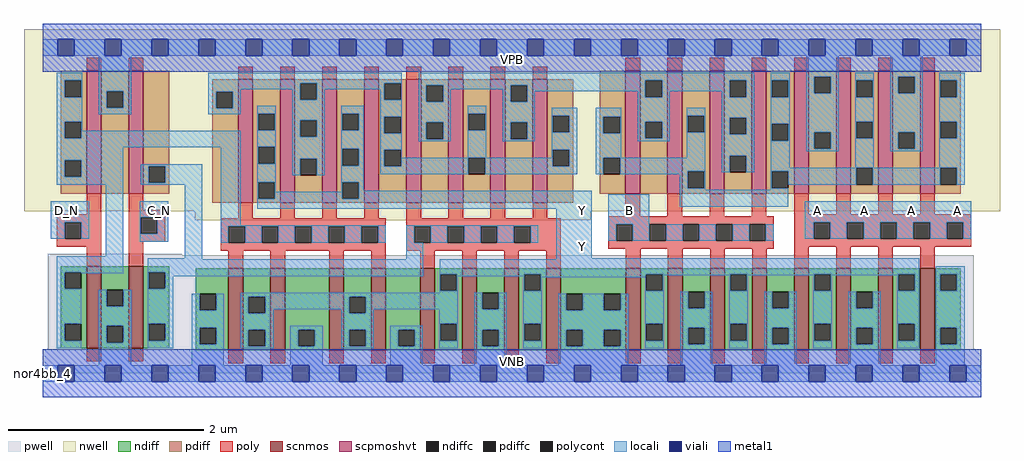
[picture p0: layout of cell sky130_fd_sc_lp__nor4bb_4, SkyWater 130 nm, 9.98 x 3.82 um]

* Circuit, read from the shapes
.subckt sky130_fd_sc_lp__nor4bb_4 A B C_N D_N VGND VNB VPB VPWR Y
XM1 VGND D_N n1 VNB sky130_fd_pr__nfet_01v8 w=0.84 l=0.15
XM2 n2 C_N VGND VNB sky130_fd_pr__nfet_01v8 w=0.84 l=0.15
XM3 Y n1 VGND VNB sky130_fd_pr__nfet_01v8 w=0.84 l=0.15 m=4
XM4 Y n2 VGND VNB sky130_fd_pr__nfet_01v8 w=0.84 l=0.15 m=4
XM5 Y B VGND VNB sky130_fd_pr__nfet_01v8 w=0.84 l=0.15 m=4
XM6 Y A VGND VNB sky130_fd_pr__nfet_01v8 w=0.84 l=0.15 m=4
XM7 VPWR D_N n1 VPB sky130_fd_pr__pfet_01v8_hvt w=1.26 l=0.15
XM8 n2 C_N VPWR VPB sky130_fd_pr__pfet_01v8_hvt w=1.26 l=0.15
XM9 Y n1 n3 VPB sky130_fd_pr__pfet_01v8_hvt w=1.26 l=0.15 m=4
XM10 n4 n2 n3 VPB sky130_fd_pr__pfet_01v8_hvt w=1.26 l=0.15 m=4
XM11 n4 B n5 VPB sky130_fd_pr__pfet_01v8_hvt w=1.26 l=0.15 m=4
XM12 VPWR A n5 VPB sky130_fd_pr__pfet_01v8_hvt w=1.26 l=0.15 m=4
.ends

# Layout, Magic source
magic
tech sky130A
magscale 1 2
<< nwell >>
rect -38 331 1958 704
rect 311 313 1121 331
<< pwell >>
rect 11 241 285 245
rect 11 49 1904 241
rect 0 0 1920 49
<< scnmos >>
rect 90 51 120 219
rect 176 51 206 219
rect 380 47 410 215
rect 466 47 496 215
rect 586 47 616 215
rect 672 47 702 215
rect 772 47 802 215
rect 858 47 888 215
rect 944 47 974 215
rect 1030 47 1060 215
rect 1193 47 1223 215
rect 1279 47 1309 215
rect 1365 47 1395 215
rect 1451 47 1481 215
rect 1537 47 1567 215
rect 1623 47 1653 215
rect 1709 47 1739 215
rect 1795 47 1825 215
<< scpmoshvt >>
rect 90 367 120 619
rect 176 367 206 619
rect 400 349 430 601
rect 486 349 516 601
rect 572 349 602 601
rect 658 349 688 601
rect 744 349 774 601
rect 830 349 860 601
rect 916 349 946 601
rect 1002 349 1032 601
rect 1192 367 1222 619
rect 1278 367 1308 619
rect 1364 367 1394 619
rect 1450 367 1480 619
rect 1537 367 1567 619
rect 1623 367 1653 619
rect 1709 367 1739 619
rect 1795 367 1825 619
<< ndiff >>
rect 37 207 90 219
rect 37 173 45 207
rect 79 173 90 207
rect 37 101 90 173
rect 37 67 45 101
rect 79 67 90 101
rect 37 51 90 67
rect 120 171 176 219
rect 120 137 131 171
rect 165 137 176 171
rect 120 97 176 137
rect 120 63 131 97
rect 165 63 176 97
rect 120 51 176 63
rect 206 207 259 219
rect 206 173 217 207
rect 251 173 259 207
rect 206 101 259 173
rect 206 67 217 101
rect 251 67 259 101
rect 206 51 259 67
rect 313 163 380 215
rect 313 129 321 163
rect 355 129 380 163
rect 313 93 380 129
rect 313 59 321 93
rect 355 59 380 93
rect 313 47 380 59
rect 410 157 466 215
rect 410 123 421 157
rect 455 123 466 157
rect 410 89 466 123
rect 410 55 421 89
rect 455 55 466 89
rect 410 47 466 55
rect 496 89 586 215
rect 496 55 523 89
rect 557 55 586 89
rect 496 47 586 55
rect 616 157 672 215
rect 616 123 627 157
rect 661 123 672 157
rect 616 89 672 123
rect 616 55 627 89
rect 661 55 672 89
rect 616 47 672 55
rect 702 89 772 215
rect 702 55 727 89
rect 761 55 772 89
rect 702 47 772 55
rect 802 203 858 215
rect 802 169 813 203
rect 847 169 858 203
rect 802 101 858 169
rect 802 67 813 101
rect 847 67 858 101
rect 802 47 858 67
rect 888 165 944 215
rect 888 131 899 165
rect 933 131 944 165
rect 888 89 944 131
rect 888 55 899 89
rect 933 55 944 89
rect 888 47 944 55
rect 974 203 1030 215
rect 974 169 985 203
rect 1019 169 1030 203
rect 974 101 1030 169
rect 974 67 985 101
rect 1019 67 1030 101
rect 974 47 1030 67
rect 1060 163 1193 215
rect 1060 129 1071 163
rect 1105 129 1148 163
rect 1182 129 1193 163
rect 1060 89 1193 129
rect 1060 55 1071 89
rect 1105 55 1148 89
rect 1182 55 1193 89
rect 1060 47 1193 55
rect 1223 203 1279 215
rect 1223 169 1234 203
rect 1268 169 1279 203
rect 1223 101 1279 169
rect 1223 67 1234 101
rect 1268 67 1279 101
rect 1223 47 1279 67
rect 1309 167 1365 215
rect 1309 133 1320 167
rect 1354 133 1365 167
rect 1309 93 1365 133
rect 1309 59 1320 93
rect 1354 59 1365 93
rect 1309 47 1365 59
rect 1395 203 1451 215
rect 1395 169 1406 203
rect 1440 169 1451 203
rect 1395 101 1451 169
rect 1395 67 1406 101
rect 1440 67 1451 101
rect 1395 47 1451 67
rect 1481 167 1537 215
rect 1481 133 1492 167
rect 1526 133 1537 167
rect 1481 93 1537 133
rect 1481 59 1492 93
rect 1526 59 1537 93
rect 1481 47 1537 59
rect 1567 203 1623 215
rect 1567 169 1578 203
rect 1612 169 1623 203
rect 1567 101 1623 169
rect 1567 67 1578 101
rect 1612 67 1623 101
rect 1567 47 1623 67
rect 1653 167 1709 215
rect 1653 133 1664 167
rect 1698 133 1709 167
rect 1653 93 1709 133
rect 1653 59 1664 93
rect 1698 59 1709 93
rect 1653 47 1709 59
rect 1739 203 1795 215
rect 1739 169 1750 203
rect 1784 169 1795 203
rect 1739 101 1795 169
rect 1739 67 1750 101
rect 1784 67 1795 101
rect 1739 47 1795 67
rect 1825 203 1878 215
rect 1825 169 1836 203
rect 1870 169 1878 203
rect 1825 93 1878 169
rect 1825 59 1836 93
rect 1870 59 1878 93
rect 1825 47 1878 59
<< pdiff >>
rect 37 599 90 619
rect 37 565 45 599
rect 79 565 90 599
rect 37 515 90 565
rect 37 481 45 515
rect 79 481 90 515
rect 37 436 90 481
rect 37 402 45 436
rect 79 402 90 436
rect 37 367 90 402
rect 120 577 176 619
rect 120 543 131 577
rect 165 543 176 577
rect 120 367 176 543
rect 206 424 259 619
rect 206 390 217 424
rect 251 390 259 424
rect 206 367 259 390
rect 347 576 400 601
rect 347 542 355 576
rect 389 542 400 576
rect 347 349 400 542
rect 430 531 486 601
rect 430 497 441 531
rect 475 497 486 531
rect 430 463 486 497
rect 430 429 441 463
rect 475 429 486 463
rect 430 391 486 429
rect 430 357 441 391
rect 475 357 486 391
rect 430 349 486 357
rect 516 593 572 601
rect 516 559 527 593
rect 561 559 572 593
rect 516 518 572 559
rect 516 484 527 518
rect 561 484 572 518
rect 516 439 572 484
rect 516 405 527 439
rect 561 405 572 439
rect 516 349 572 405
rect 602 531 658 601
rect 602 497 613 531
rect 647 497 658 531
rect 602 459 658 497
rect 602 425 613 459
rect 647 425 658 459
rect 602 391 658 425
rect 602 357 613 391
rect 647 357 658 391
rect 602 349 658 357
rect 688 593 744 601
rect 688 559 699 593
rect 733 559 744 593
rect 688 525 744 559
rect 688 491 699 525
rect 733 491 744 525
rect 688 457 744 491
rect 688 423 699 457
rect 733 423 744 457
rect 688 349 744 423
rect 774 589 830 601
rect 774 555 785 589
rect 819 555 830 589
rect 774 513 830 555
rect 774 479 785 513
rect 819 479 830 513
rect 774 349 830 479
rect 860 531 916 601
rect 860 497 871 531
rect 905 497 916 531
rect 860 441 916 497
rect 860 407 871 441
rect 905 407 916 441
rect 860 349 916 407
rect 946 589 1002 601
rect 946 555 957 589
rect 991 555 1002 589
rect 946 513 1002 555
rect 946 479 957 513
rect 991 479 1002 513
rect 946 349 1002 479
rect 1032 527 1085 601
rect 1032 493 1043 527
rect 1077 493 1085 527
rect 1032 457 1085 493
rect 1032 423 1043 457
rect 1077 423 1085 457
rect 1032 349 1085 423
rect 1139 525 1192 619
rect 1139 491 1147 525
rect 1181 491 1192 525
rect 1139 441 1192 491
rect 1139 407 1147 441
rect 1181 407 1192 441
rect 1139 367 1192 407
rect 1222 599 1278 619
rect 1222 565 1233 599
rect 1267 565 1278 599
rect 1222 515 1278 565
rect 1222 481 1233 515
rect 1267 481 1278 515
rect 1222 367 1278 481
rect 1308 527 1364 619
rect 1308 493 1319 527
rect 1353 493 1364 527
rect 1308 413 1364 493
rect 1308 379 1319 413
rect 1353 379 1364 413
rect 1308 367 1364 379
rect 1394 599 1450 619
rect 1394 565 1405 599
rect 1439 565 1450 599
rect 1394 523 1450 565
rect 1394 489 1405 523
rect 1439 489 1450 523
rect 1394 445 1450 489
rect 1394 411 1405 445
rect 1439 411 1450 445
rect 1394 367 1450 411
rect 1480 599 1537 619
rect 1480 565 1491 599
rect 1525 565 1537 599
rect 1480 510 1537 565
rect 1480 476 1491 510
rect 1525 476 1537 510
rect 1480 413 1537 476
rect 1480 379 1491 413
rect 1525 379 1537 413
rect 1480 367 1537 379
rect 1567 607 1623 619
rect 1567 573 1578 607
rect 1612 573 1623 607
rect 1567 493 1623 573
rect 1567 459 1578 493
rect 1612 459 1623 493
rect 1567 367 1623 459
rect 1653 599 1709 619
rect 1653 565 1664 599
rect 1698 565 1709 599
rect 1653 515 1709 565
rect 1653 481 1664 515
rect 1698 481 1709 515
rect 1653 420 1709 481
rect 1653 386 1664 420
rect 1698 386 1709 420
rect 1653 367 1709 386
rect 1739 607 1795 619
rect 1739 573 1750 607
rect 1784 573 1795 607
rect 1739 493 1795 573
rect 1739 459 1750 493
rect 1784 459 1795 493
rect 1739 367 1795 459
rect 1825 599 1878 619
rect 1825 565 1836 599
rect 1870 565 1878 599
rect 1825 515 1878 565
rect 1825 481 1836 515
rect 1870 481 1878 515
rect 1825 420 1878 481
rect 1825 386 1836 420
rect 1870 386 1878 420
rect 1825 367 1878 386
<< ndiffc >>
rect 45 173 79 207
rect 45 67 79 101
rect 131 137 165 171
rect 131 63 165 97
rect 217 173 251 207
rect 217 67 251 101
rect 321 129 355 163
rect 321 59 355 93
rect 421 123 455 157
rect 421 55 455 89
rect 523 55 557 89
rect 627 123 661 157
rect 627 55 661 89
rect 727 55 761 89
rect 813 169 847 203
rect 813 67 847 101
rect 899 131 933 165
rect 899 55 933 89
rect 985 169 1019 203
rect 985 67 1019 101
rect 1071 129 1105 163
rect 1148 129 1182 163
rect 1071 55 1105 89
rect 1148 55 1182 89
rect 1234 169 1268 203
rect 1234 67 1268 101
rect 1320 133 1354 167
rect 1320 59 1354 93
rect 1406 169 1440 203
rect 1406 67 1440 101
rect 1492 133 1526 167
rect 1492 59 1526 93
rect 1578 169 1612 203
rect 1578 67 1612 101
rect 1664 133 1698 167
rect 1664 59 1698 93
rect 1750 169 1784 203
rect 1750 67 1784 101
rect 1836 169 1870 203
rect 1836 59 1870 93
<< pdiffc >>
rect 45 565 79 599
rect 45 481 79 515
rect 45 402 79 436
rect 131 543 165 577
rect 217 390 251 424
rect 355 542 389 576
rect 441 497 475 531
rect 441 429 475 463
rect 441 357 475 391
rect 527 559 561 593
rect 527 484 561 518
rect 527 405 561 439
rect 613 497 647 531
rect 613 425 647 459
rect 613 357 647 391
rect 699 559 733 593
rect 699 491 733 525
rect 699 423 733 457
rect 785 555 819 589
rect 785 479 819 513
rect 871 497 905 531
rect 871 407 905 441
rect 957 555 991 589
rect 957 479 991 513
rect 1043 493 1077 527
rect 1043 423 1077 457
rect 1147 491 1181 525
rect 1147 407 1181 441
rect 1233 565 1267 599
rect 1233 481 1267 515
rect 1319 493 1353 527
rect 1319 379 1353 413
rect 1405 565 1439 599
rect 1405 489 1439 523
rect 1405 411 1439 445
rect 1491 565 1525 599
rect 1491 476 1525 510
rect 1491 379 1525 413
rect 1578 573 1612 607
rect 1578 459 1612 493
rect 1664 565 1698 599
rect 1664 481 1698 515
rect 1664 386 1698 420
rect 1750 573 1784 607
rect 1750 459 1784 493
rect 1836 565 1870 599
rect 1836 481 1870 515
rect 1836 386 1870 420
<< poly >>
rect 90 619 120 645
rect 176 619 206 645
rect 400 601 430 627
rect 486 601 516 627
rect 572 601 602 627
rect 658 601 688 627
rect 744 601 774 627
rect 830 601 860 627
rect 916 601 946 627
rect 1002 601 1032 627
rect 1192 619 1222 645
rect 1278 619 1308 645
rect 1364 619 1394 645
rect 1450 619 1480 645
rect 1537 619 1567 645
rect 1623 619 1653 645
rect 1709 619 1739 645
rect 1795 619 1825 645
rect 90 325 120 367
rect 29 309 120 325
rect 29 275 45 309
rect 79 275 120 309
rect 29 259 120 275
rect 90 219 120 259
rect 176 335 206 367
rect 176 319 251 335
rect 176 285 201 319
rect 235 285 251 319
rect 400 317 430 349
rect 486 317 516 349
rect 572 317 602 349
rect 658 317 688 349
rect 744 317 774 349
rect 830 317 860 349
rect 916 317 946 349
rect 1002 317 1032 349
rect 1192 321 1222 367
rect 1278 321 1308 367
rect 1364 321 1394 367
rect 1450 321 1480 367
rect 1537 325 1567 367
rect 1623 325 1653 367
rect 1709 325 1739 367
rect 1795 325 1825 367
rect 176 269 251 285
rect 364 301 702 317
rect 176 219 206 269
rect 364 267 380 301
rect 414 267 448 301
rect 482 267 516 301
rect 550 267 584 301
rect 618 267 652 301
rect 686 267 702 301
rect 364 251 702 267
rect 744 301 1060 317
rect 744 267 760 301
rect 794 267 828 301
rect 862 267 896 301
rect 930 267 964 301
rect 998 267 1060 301
rect 744 251 1060 267
rect 1157 305 1495 321
rect 1157 271 1173 305
rect 1207 271 1241 305
rect 1275 271 1309 305
rect 1343 271 1377 305
rect 1411 271 1445 305
rect 1479 271 1495 305
rect 1157 255 1495 271
rect 1537 309 1899 325
rect 1537 275 1577 309
rect 1611 275 1645 309
rect 1679 275 1713 309
rect 1747 275 1781 309
rect 1815 275 1849 309
rect 1883 275 1899 309
rect 1537 259 1899 275
rect 380 215 410 251
rect 466 215 496 251
rect 586 215 616 251
rect 672 215 702 251
rect 772 215 802 251
rect 858 215 888 251
rect 944 215 974 251
rect 1030 215 1060 251
rect 1193 215 1223 255
rect 1279 215 1309 255
rect 1365 215 1395 255
rect 1451 215 1481 255
rect 1537 215 1567 259
rect 1623 215 1653 259
rect 1709 215 1739 259
rect 1795 215 1825 259
rect 90 25 120 51
rect 176 25 206 51
rect 380 21 410 47
rect 466 21 496 47
rect 586 21 616 47
rect 672 21 702 47
rect 772 21 802 47
rect 858 21 888 47
rect 944 21 974 47
rect 1030 21 1060 47
rect 1193 21 1223 47
rect 1279 21 1309 47
rect 1365 21 1395 47
rect 1451 21 1481 47
rect 1537 21 1567 47
rect 1623 21 1653 47
rect 1709 21 1739 47
rect 1795 21 1825 47
<< polycont >>
rect 45 275 79 309
rect 201 285 235 319
rect 380 267 414 301
rect 448 267 482 301
rect 516 267 550 301
rect 584 267 618 301
rect 652 267 686 301
rect 760 267 794 301
rect 828 267 862 301
rect 896 267 930 301
rect 964 267 998 301
rect 1173 271 1207 305
rect 1241 271 1275 305
rect 1309 271 1343 305
rect 1377 271 1411 305
rect 1445 271 1479 305
rect 1577 275 1611 309
rect 1645 275 1679 309
rect 1713 275 1747 309
rect 1781 275 1815 309
rect 1849 275 1883 309
<< locali >>
rect 0 649 31 683
rect 65 649 127 683
rect 161 649 223 683
rect 257 649 319 683
rect 353 649 415 683
rect 449 649 511 683
rect 545 649 607 683
rect 641 649 703 683
rect 737 649 799 683
rect 833 649 895 683
rect 929 649 991 683
rect 1025 649 1087 683
rect 1121 649 1183 683
rect 1217 649 1279 683
rect 1313 649 1375 683
rect 1409 649 1471 683
rect 1505 649 1567 683
rect 1601 649 1663 683
rect 1697 649 1759 683
rect 1793 649 1855 683
rect 1889 649 1920 683
rect 29 599 81 615
rect 29 565 45 599
rect 79 565 81 599
rect 29 515 81 565
rect 115 577 181 649
rect 115 543 131 577
rect 165 543 181 577
rect 115 530 181 543
rect 339 593 735 615
rect 339 581 527 593
rect 339 576 405 581
rect 339 542 355 576
rect 389 542 405 576
rect 511 559 527 581
rect 561 581 699 593
rect 561 559 577 581
rect 339 530 405 542
rect 439 531 477 547
rect 29 481 45 515
rect 79 496 81 515
rect 439 497 441 531
rect 475 497 477 531
rect 79 481 405 496
rect 29 462 405 481
rect 29 436 165 462
rect 29 402 45 436
rect 79 402 165 436
rect 29 386 165 402
rect 201 424 327 428
rect 201 390 217 424
rect 251 390 327 424
rect 201 386 327 390
rect 17 309 95 352
rect 17 275 45 309
rect 79 275 95 309
rect 129 239 165 386
rect 199 319 257 352
rect 199 285 201 319
rect 235 285 257 319
rect 199 269 257 285
rect 29 207 165 239
rect 291 235 327 386
rect 364 303 405 462
rect 439 463 477 497
rect 439 429 441 463
rect 475 429 477 463
rect 439 391 477 429
rect 511 518 577 559
rect 691 559 699 581
rect 733 559 735 593
rect 511 484 527 518
rect 561 484 577 518
rect 511 439 577 484
rect 511 405 527 439
rect 561 405 577 439
rect 611 531 657 547
rect 611 497 613 531
rect 647 497 657 531
rect 611 459 657 497
rect 611 425 613 459
rect 647 425 657 459
rect 439 357 441 391
rect 475 371 477 391
rect 611 391 657 425
rect 691 525 735 559
rect 691 491 699 525
rect 733 491 735 525
rect 691 457 735 491
rect 769 599 1455 615
rect 769 589 1233 599
rect 769 555 785 589
rect 819 581 957 589
rect 819 555 835 581
rect 769 513 835 555
rect 941 555 957 581
rect 991 577 1233 589
rect 991 555 1007 577
rect 769 479 785 513
rect 819 479 835 513
rect 769 475 835 479
rect 869 531 907 547
rect 869 497 871 531
rect 905 497 907 531
rect 691 423 699 457
rect 733 441 735 457
rect 869 441 907 497
rect 941 513 1007 555
rect 1217 565 1233 577
rect 1267 577 1405 599
rect 1267 565 1283 577
rect 941 479 957 513
rect 991 479 1007 513
rect 941 475 1007 479
rect 1041 527 1093 543
rect 1041 493 1043 527
rect 1077 493 1093 527
rect 1041 457 1093 493
rect 1041 441 1043 457
rect 733 423 871 441
rect 691 407 871 423
rect 905 423 1043 441
rect 1077 423 1093 457
rect 905 407 1093 423
rect 1131 525 1183 543
rect 1131 491 1147 525
rect 1181 491 1183 525
rect 1131 441 1183 491
rect 1217 515 1283 565
rect 1389 565 1405 577
rect 1439 565 1455 599
rect 1217 481 1233 515
rect 1267 481 1283 515
rect 1217 475 1283 481
rect 1317 527 1355 543
rect 1317 493 1319 527
rect 1353 493 1355 527
rect 1317 441 1355 493
rect 1131 407 1147 441
rect 1181 413 1355 441
rect 1181 407 1319 413
rect 611 371 613 391
rect 475 357 613 371
rect 647 373 657 391
rect 1303 379 1319 407
rect 1353 379 1355 413
rect 1389 523 1455 565
rect 1389 489 1405 523
rect 1439 489 1455 523
rect 1389 445 1455 489
rect 1389 411 1405 445
rect 1439 411 1455 445
rect 1489 599 1528 615
rect 1489 565 1491 599
rect 1525 565 1528 599
rect 1489 510 1528 565
rect 1489 476 1491 510
rect 1525 476 1528 510
rect 1489 420 1528 476
rect 1562 607 1628 649
rect 1562 573 1578 607
rect 1612 573 1628 607
rect 1562 493 1628 573
rect 1562 459 1578 493
rect 1612 459 1628 493
rect 1562 454 1628 459
rect 1662 599 1700 615
rect 1662 565 1664 599
rect 1698 565 1700 599
rect 1662 515 1700 565
rect 1662 481 1664 515
rect 1698 481 1700 515
rect 1662 420 1700 481
rect 1734 607 1800 649
rect 1734 573 1750 607
rect 1784 573 1800 607
rect 1734 493 1800 573
rect 1734 459 1750 493
rect 1784 459 1800 493
rect 1734 454 1800 459
rect 1834 599 1886 615
rect 1834 565 1836 599
rect 1870 565 1886 599
rect 1834 515 1886 565
rect 1834 481 1836 515
rect 1870 481 1886 515
rect 1834 420 1886 481
rect 1489 413 1664 420
rect 1303 375 1355 379
rect 1489 379 1491 413
rect 1525 386 1664 413
rect 1698 386 1836 420
rect 1870 386 1886 420
rect 1489 375 1525 379
rect 647 357 1123 373
rect 439 337 1123 357
rect 364 301 702 303
rect 364 267 380 301
rect 414 267 448 301
rect 482 267 516 301
rect 550 267 584 301
rect 618 267 652 301
rect 686 267 702 301
rect 744 301 1014 303
rect 744 267 760 301
rect 794 267 828 301
rect 862 267 896 301
rect 930 267 964 301
rect 998 267 1014 301
rect 29 173 45 207
rect 79 205 165 207
rect 215 233 327 235
rect 744 233 778 267
rect 1050 235 1123 337
rect 1157 305 1241 366
rect 1303 341 1525 375
rect 1559 309 1899 352
rect 1157 271 1173 305
rect 1207 271 1241 305
rect 1275 271 1309 305
rect 1343 271 1377 305
rect 1411 271 1445 305
rect 1479 271 1495 305
rect 1559 275 1577 309
rect 1611 275 1645 309
rect 1679 275 1713 309
rect 1747 275 1781 309
rect 1815 275 1849 309
rect 1883 275 1899 309
rect 1050 233 1793 235
rect 215 207 778 233
rect 29 101 79 173
rect 215 173 217 207
rect 251 199 778 207
rect 812 203 1793 233
rect 251 173 267 199
rect 29 67 45 101
rect 29 51 79 67
rect 115 137 131 171
rect 165 137 181 171
rect 115 97 181 137
rect 115 63 131 97
rect 165 63 181 97
rect 115 17 181 63
rect 215 101 267 173
rect 812 169 813 203
rect 847 199 985 203
rect 847 169 849 199
rect 812 165 849 169
rect 983 169 985 199
rect 1019 197 1234 203
rect 1019 169 1021 197
rect 215 67 217 101
rect 251 67 267 101
rect 215 51 267 67
rect 305 129 321 163
rect 355 129 371 163
rect 305 93 371 129
rect 305 59 321 93
rect 355 59 371 93
rect 305 17 371 59
rect 405 157 849 165
rect 405 123 421 157
rect 455 131 627 157
rect 455 123 473 131
rect 405 89 473 123
rect 611 123 627 131
rect 661 131 849 157
rect 661 123 677 131
rect 405 55 421 89
rect 455 55 473 89
rect 405 51 473 55
rect 507 89 573 97
rect 507 55 523 89
rect 557 55 573 89
rect 507 17 573 55
rect 611 89 677 123
rect 811 101 849 131
rect 611 55 627 89
rect 661 55 677 89
rect 611 51 677 55
rect 711 89 777 97
rect 711 55 727 89
rect 761 55 777 89
rect 711 17 777 55
rect 811 67 813 101
rect 847 67 849 101
rect 811 51 849 67
rect 883 131 899 165
rect 933 131 949 165
rect 883 89 949 131
rect 883 55 899 89
rect 933 55 949 89
rect 883 17 949 55
rect 983 101 1021 169
rect 1232 169 1234 197
rect 1268 201 1406 203
rect 1268 169 1270 201
rect 983 67 985 101
rect 1019 67 1021 101
rect 983 51 1021 67
rect 1055 129 1071 163
rect 1105 129 1148 163
rect 1182 129 1198 163
rect 1055 89 1198 129
rect 1055 55 1071 89
rect 1105 55 1148 89
rect 1182 55 1198 89
rect 1055 17 1198 55
rect 1232 101 1270 169
rect 1404 169 1406 201
rect 1440 201 1578 203
rect 1440 169 1442 201
rect 1232 67 1234 101
rect 1268 67 1270 101
rect 1232 51 1270 67
rect 1304 133 1320 167
rect 1354 133 1370 167
rect 1304 93 1370 133
rect 1304 59 1320 93
rect 1354 59 1370 93
rect 1304 17 1370 59
rect 1404 101 1442 169
rect 1576 169 1578 201
rect 1612 201 1750 203
rect 1612 169 1614 201
rect 1404 67 1406 101
rect 1440 67 1442 101
rect 1404 51 1442 67
rect 1476 133 1492 167
rect 1526 133 1542 167
rect 1476 93 1542 133
rect 1476 59 1492 93
rect 1526 59 1542 93
rect 1476 17 1542 59
rect 1576 101 1614 169
rect 1748 169 1750 201
rect 1784 169 1793 203
rect 1576 67 1578 101
rect 1612 67 1614 101
rect 1576 51 1614 67
rect 1648 133 1664 167
rect 1698 133 1714 167
rect 1648 93 1714 133
rect 1648 59 1664 93
rect 1698 59 1714 93
rect 1648 17 1714 59
rect 1748 101 1793 169
rect 1748 67 1750 101
rect 1784 67 1793 101
rect 1748 51 1793 67
rect 1827 203 1886 219
rect 1827 169 1836 203
rect 1870 169 1886 203
rect 1827 93 1886 169
rect 1827 59 1836 93
rect 1870 59 1886 93
rect 1827 17 1886 59
rect 0 -17 31 17
rect 65 -17 127 17
rect 161 -17 223 17
rect 257 -17 319 17
rect 353 -17 415 17
rect 449 -17 511 17
rect 545 -17 607 17
rect 641 -17 703 17
rect 737 -17 799 17
rect 833 -17 895 17
rect 929 -17 991 17
rect 1025 -17 1087 17
rect 1121 -17 1183 17
rect 1217 -17 1279 17
rect 1313 -17 1375 17
rect 1409 -17 1471 17
rect 1505 -17 1567 17
rect 1601 -17 1663 17
rect 1697 -17 1759 17
rect 1793 -17 1855 17
rect 1889 -17 1920 17
<< viali >>
rect 31 649 65 683
rect 127 649 161 683
rect 223 649 257 683
rect 319 649 353 683
rect 415 649 449 683
rect 511 649 545 683
rect 607 649 641 683
rect 703 649 737 683
rect 799 649 833 683
rect 895 649 929 683
rect 991 649 1025 683
rect 1087 649 1121 683
rect 1183 649 1217 683
rect 1279 649 1313 683
rect 1375 649 1409 683
rect 1471 649 1505 683
rect 1567 649 1601 683
rect 1663 649 1697 683
rect 1759 649 1793 683
rect 1855 649 1889 683
rect 31 -17 65 17
rect 127 -17 161 17
rect 223 -17 257 17
rect 319 -17 353 17
rect 415 -17 449 17
rect 511 -17 545 17
rect 607 -17 641 17
rect 703 -17 737 17
rect 799 -17 833 17
rect 895 -17 929 17
rect 991 -17 1025 17
rect 1087 -17 1121 17
rect 1183 -17 1217 17
rect 1279 -17 1313 17
rect 1375 -17 1409 17
rect 1471 -17 1505 17
rect 1567 -17 1601 17
rect 1663 -17 1697 17
rect 1759 -17 1793 17
rect 1855 -17 1889 17
<< metal1 >>
rect 0 683 1920 715
rect 0 649 31 683
rect 65 649 127 683
rect 161 649 223 683
rect 257 649 319 683
rect 353 649 415 683
rect 449 649 511 683
rect 545 649 607 683
rect 641 649 703 683
rect 737 649 799 683
rect 833 649 895 683
rect 929 649 991 683
rect 1025 649 1087 683
rect 1121 649 1183 683
rect 1217 649 1279 683
rect 1313 649 1375 683
rect 1409 649 1471 683
rect 1505 649 1567 683
rect 1601 649 1663 683
rect 1697 649 1759 683
rect 1793 649 1855 683
rect 1889 649 1920 683
rect 0 617 1920 649
rect 0 17 1920 49
rect 0 -17 31 17
rect 65 -17 127 17
rect 161 -17 223 17
rect 257 -17 319 17
rect 353 -17 415 17
rect 449 -17 511 17
rect 545 -17 607 17
rect 641 -17 703 17
rect 737 -17 799 17
rect 833 -17 895 17
rect 929 -17 991 17
rect 1025 -17 1087 17
rect 1121 -17 1183 17
rect 1217 -17 1279 17
rect 1313 -17 1375 17
rect 1409 -17 1471 17
rect 1505 -17 1567 17
rect 1601 -17 1663 17
rect 1697 -17 1759 17
rect 1793 -17 1855 17
rect 1889 -17 1920 17
rect 0 -49 1920 -17
<< labels >>
flabel pwell s 0 0 1920 49 0 FreeSans 200 0 0 0 VNB
port 6 nsew ground bidirectional
flabel nwell s 0 617 1920 666 0 FreeSans 200 0 0 0 VPB
port 7 nsew power bidirectional
rlabel comment s 0 0 0 0 4 nor4bb_4
flabel metal1 s 0 617 1920 666 0 FreeSans 340 0 0 0 VPWR
port 8 nsew power bidirectional
flabel metal1 s 0 0 1920 49 0 FreeSans 340 0 0 0 VGND
port 5 nsew ground bidirectional
flabel locali s 1567 316 1601 350 0 FreeSans 340 0 0 0 A
port 1 nsew signal input
flabel locali s 1663 316 1697 350 0 FreeSans 340 0 0 0 A
port 1 nsew signal input
flabel locali s 1759 316 1793 350 0 FreeSans 340 0 0 0 A
port 1 nsew signal input
flabel locali s 1855 316 1889 350 0 FreeSans 340 0 0 0 A
port 1 nsew signal input
flabel locali s 1183 316 1217 350 0 FreeSans 340 0 0 0 B
port 2 nsew signal input
flabel locali s 223 316 257 350 0 FreeSans 340 0 0 0 C_N
port 3 nsew signal input
flabel locali s 31 316 65 350 0 FreeSans 340 0 0 0 D_N
port 4 nsew signal input
flabel locali s 1087 242 1121 276 0 FreeSans 340 0 0 0 Y
port 9 nsew signal output
flabel locali s 1087 316 1121 350 0 FreeSans 340 0 0 0 Y
port 9 nsew signal output
<< properties >>
string LEFsite unit
string LEFclass CORE
string FIXED_BBOX 0 0 1920 666
string GDS_FILE $PDKPATH/libs.ref/sky130_fd_sc_lp/gds/sky130_fd_sc_lp.gds
string LEFsymmetry X Y R90
string GDS_END 3376264
string GDS_START 3360376
<< end >>
